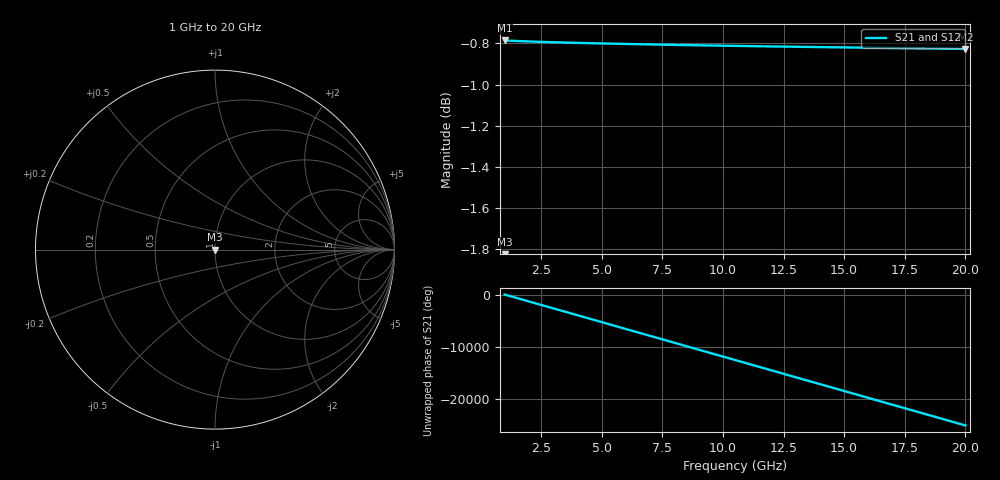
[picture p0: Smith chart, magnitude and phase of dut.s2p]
# ghz S RI R 50.0
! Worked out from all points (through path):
!   2001 points, 1 GHz to 20 GHz, reference 50 ohm
!   highest |S21| = -0.79 dB at 1 GHz (marker M1); lowest = -0.8 dB at 20 GHz (marker M2)
!   group delay of S21, straight-line fit = 3.69 ns
!   lowest |S11| = - dB at 1 GHz (marker M3), VSWR 1.00, Z = 50 - j1.52e-15 ohm
!   |S11| at or under -10 dB: start of sweep to end of sweep
!   |S22| runs from - to - dB; largest |S21 - S12| = 0.0016
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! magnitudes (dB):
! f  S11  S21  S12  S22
! 1 GHz  -  -0.8  -0.8  -
! 1.076 GHz  -  -0.8  -0.8  -
! 1.371 GHz  -  -0.8  -0.8  -
! 1.694 GHz  -  -0.8  -0.8  -
! 2.017 GHz  -  -0.8  -0.8  -
! 2.368 GHz  -  -0.8  -0.8  -
! 2.767 GHz  -  -0.8  -0.8  -
! 3.204 GHz  -  -0.8  -0.8  -
! 3.67 GHz  -  -0.8  -0.8  -
! 4.173 GHz  -  -0.8  -0.8  -
! 4.886 GHz  -  -0.8  -0.8  -
! 5.646 GHz  -  -0.8  -0.8  -
! 6.463 GHz  -  -0.8  -0.8  -
! 7.337 GHz  -  -0.8  -0.8  -
! 8.847 GHz  -  -0.8  -0.8  -
! 10.5 GHz  -  -0.8  -0.8  -
! 12.03 GHz  -  -0.8  -0.8  -
! 13.67 GHz  -  -0.8  -0.8  -
! 15.21 GHz  -  -0.8  -0.8  -
! 16.84 GHz  -  -0.8  -0.8  -
! 18.66 GHz  -  -0.8  -0.8  -
! 20 GHz  -  -0.8  -0.8  -
